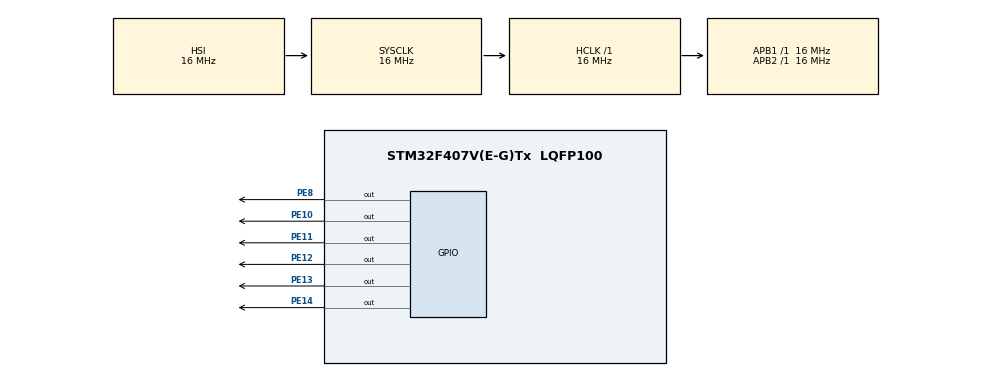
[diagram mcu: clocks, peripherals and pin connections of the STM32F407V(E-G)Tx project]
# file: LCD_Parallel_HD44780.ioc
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Mcu.Family=STM32F4
Mcu.Name=STM32F407V(E-G)Tx
Mcu.Package=LQFP100
NVIC.PriorityGroup=NVIC_PRIORITYGROUP_4
PE10.Signal=GPIO_Output
PE11.Signal=GPIO_Output
PE12.Signal=GPIO_Output
PE13.Signal=GPIO_Output
PE14.Signal=GPIO_Output
PE8.Signal=GPIO_Output
ProjectManager.HeapSize=0x200
ProjectManager.StackSize=0x400
ProjectManager.TargetToolchain=STM32CubeIDE
RCC.AHBFreq_Value=16000000
RCC.APB1Freq_Value=16000000
RCC.APB2Freq_Value=16000000
RCC.CortexFreq_Value=16000000
RCC.HSE_VALUE=25000000
RCC.HSI_VALUE=16000000
RCC.LSE_VALUE=32768
RCC.SYSCLKFreq_VALUE=16000000
RCC.VCOOutputFreq_Value=192000000
board=custom

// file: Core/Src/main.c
/* USER CODE BEGIN Header */
/**
  ******************************************************************************
  * @file           : main.c
  * @brief          : Main program body
  ******************************************************************************
  * @attention
  *
  * Copyright (c) 2025 STMicroelectronics.
  * All rights reserved.
  *
  * This software is licensed under terms that can be found in the LICENSE file
  * in the root directory of this software component.
  * If no LICENSE file comes with this software, it is provided AS-IS.
  *
  ******************************************************************************
  */
/* USER CODE END Header */
#include "main.h"

/* USER CODE BEGIN Includes */
#include "lcd.h"
/* USER CODE END Includes */

void SystemClock_Config(void);
static void MX_GPIO_Init(void);

int main(void)
{

  /* MCU Configuration--------------------------------------------------------*/

  /* Reset of all peripherals, Initializes the Flash interface and the Systick. */
  HAL_Init();

  /* Configure the system clock */
  SystemClock_Config();

  /* Initialize all configured peripherals */
  MX_GPIO_Init();

  /* Infinite loop */
  /* USER CODE BEGIN WHILE */
  LCD_Init();

  while (1)
  {

	  uint8_t ka[8] = {
	      0b00001,
	      0b11111,
	      0b01010,
	      0b11111,
	      0b01010,
	      0b01010,
	      0b01110,
	      0b00000,
	  };

	  uint8_t na[8] = {
			    0b00000,
			    0b00001,
			    0b00001,
			    0b11101,
			    0b10101,
			    0b10101,
			    0b10111,
			    0b00000,
			  };

	  uint8_t na1[8] = {
	 			    0b00001,
	 			    0b00010,
	 			    0b11100,
	 			    0b11100,
	 			    0b11100,
	 			    0b00100,
	 			    0b00010,
	 			    0b00001,
	 			  };

	  uint8_t da[8] = {
			  	0b00001,
			    0b11111,
			    0b10001,
			    0b10001,
			    0b10010,
			    0b10001,
			    0b10101,
			    0b11011,
	 			  };

	  LCD_Create_Custom_Char(0, ka);
	  LCD_Set_Cursor(0, 0);
	  LCD_Print_Custom_Char(0);

	  LCD_Create_Custom_Char(1, na);
	  LCD_Set_Cursor(0, 1);
	  LCD_Print_Custom_Char(1);

	  LCD_Create_Custom_Char(2, da);
	  LCD_Set_Cursor(0, 2);
	  LCD_Print_Custom_Char(2);

	  LCD_Create_Custom_Char(3, na1);
	  LCD_Set_Cursor(1, 2);
	  LCD_Print_Custom_Char(3);

	  HAL_Delay(5000);
    /* USER CODE END WHILE */

  }
}

void SystemClock_Config(void)
{
  RCC_OscInitTypeDef RCC_OscInitStruct = {0};
  RCC_ClkInitTypeDef RCC_ClkInitStruct = {0};

  /** Configure the main internal regulator output voltage
  */
  __HAL_RCC_PWR_CLK_ENABLE();
  __HAL_PWR_VOLTAGESCALING_CONFIG(PWR_REGULATOR_VOLTAGE_SCALE1);

  /** Initializes the RCC Oscillators according to the specified parameters
  * in the RCC_OscInitTypeDef structure.
  */
  RCC_OscInitStruct.OscillatorType = RCC_OSCILLATORTYPE_HSI;
  RCC_OscInitStruct.HSIState = RCC_HSI_ON;
  RCC_OscInitStruct.HSICalibrationValue = RCC_HSICALIBRATION_DEFAULT;
  RCC_OscInitStruct.PLL.PLLState = RCC_PLL_NONE;
  if (HAL_RCC_OscConfig(&RCC_OscInitStruct) != HAL_OK)
  {
    Error_Handler();
  }

  /** Initializes the CPU, AHB and APB buses clocks
  */
  RCC_ClkInitStruct.ClockType = RCC_CLOCKTYPE_HCLK|RCC_CLOCKTYPE_SYSCLK
                              |RCC_CLOCKTYPE_PCLK1|RCC_CLOCKTYPE_PCLK2;
  RCC_ClkInitStruct.SYSCLKSource = RCC_SYSCLKSOURCE_HSI;
  RCC_ClkInitStruct.AHBCLKDivider = RCC_SYSCLK_DIV1;
  RCC_ClkInitStruct.APB1CLKDivider = RCC_HCLK_DIV1;
  RCC_ClkInitStruct.APB2CLKDivider = RCC_HCLK_DIV1;

  if (HAL_RCC_ClockConfig(&RCC_ClkInitStruct, FLASH_LATENCY_0) != HAL_OK)
  {
    Error_Handler();
  }
}

static void MX_GPIO_Init(void)
{
  GPIO_InitTypeDef GPIO_InitStruct = {0};

  /* GPIO Ports Clock Enable */
  __HAL_RCC_GPIOE_CLK_ENABLE();

  /*Configure GPIO pin Output Level */
  HAL_GPIO_WritePin(GPIOE, GPIO_PIN_8|GPIO_PIN_10|GPIO_PIN_11|GPIO_PIN_12
                          |GPIO_PIN_13|GPIO_PIN_14, GPIO_PIN_RESET);

  /*Configure GPIO pins : PE8 PE10 PE11 PE12
                           PE13 PE14 */
  GPIO_InitStruct.Pin = GPIO_PIN_8|GPIO_PIN_10|GPIO_PIN_11|GPIO_PIN_12
                          |GPIO_PIN_13|GPIO_PIN_14;
  GPIO_InitStruct.Mode = GPIO_MODE_OUTPUT_PP;
  GPIO_InitStruct.Pull = GPIO_NOPULL;
  GPIO_InitStruct.Speed = GPIO_SPEED_FREQ_LOW;
  HAL_GPIO_Init(GPIOE, &GPIO_InitStruct);

}

void Error_Handler(void)
{
  __disable_irq();
  while (1)
  {
  }
}
